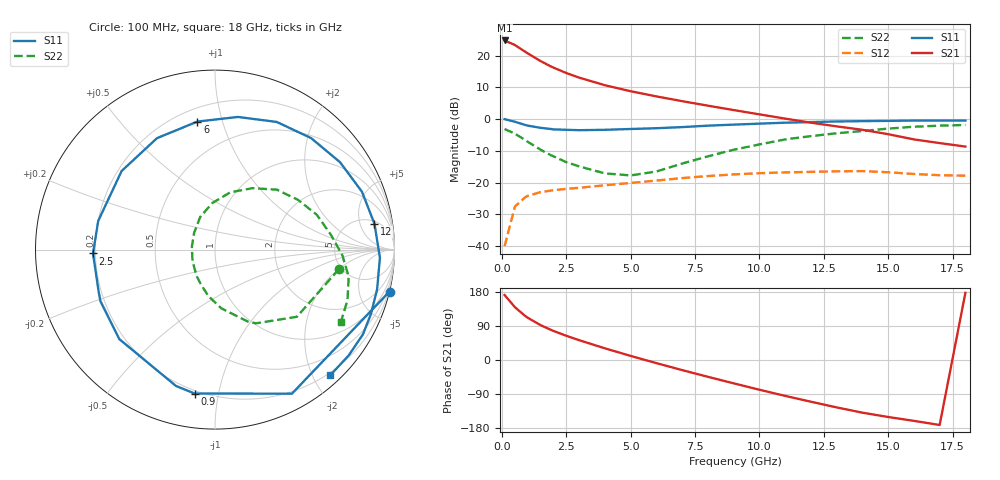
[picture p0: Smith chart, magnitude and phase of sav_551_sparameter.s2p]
# GHZ S MA R 50
! Frequency(GHz) S11(mag,deg) S21(mag,deg) S12(mag,deg) S22(mag,deg)
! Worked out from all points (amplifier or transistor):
!   24 points, 100 MHz to 18 GHz, reference 50 ohm
!   highest |S21| = 24.8 dB at 100 MHz (marker M1)
!   |S21| within 3 dB of that: start of sweep to 795.1 MHz
!   unconditionally stable (mu >= 1): 4.65 GHz to 10.4 GHz
!   at 1.5 GHz: K = 0.43, MSG = 20.6 dB, |S12| = -23.0 dB
!   at 7 GHz: K = 1.11, MAG = 10.1 dB, |S12| = -18.6 dB
!   at 18 GHz: K = 0.81, MSG = 4.6 dB, |S12| = -17.8 dB
!   S11 on the Smith chart (normalised r, x): 100 MHz: 0.00, -8.45; 900 MHz: 0.18, -0.85; 2.5 GHz: 0.19, -0.02; 6 GHz: 0.28, +0.83; 12 GHz: 6, +9; 18 GHz: 0.16, -2.26
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0.1  1 -13.5  17.35 171.5  0.01 81.4  0.7 -8.9
0.5  0.91 -61.9  14.71 139.3  0.042 56.8  0.59 -39.4
0.9  0.81 -98.1  11.52 116.2  0.059 40.4  0.47 -60.9
1  0.79 -106.0  10.86 111.4  0.062 37.2  0.44 -65.6
1.5  0.73 -136.9  8.2 91.9  0.071 25.5  0.33 -83.7
1.9  0.7 -155.7  6.76 79.5  0.075 19.3  0.27 -95.6
2  0.69 -159.8  6.48 76.7  0.076 18.0  0.26 -98.4
2.5  0.68 -178.2  5.32 63.8  0.08 12.7  0.21 -111.6
3  0.67 166.2  4.5 52.2  0.083 8.4  0.18 -124.6
4  0.68 139.9  3.42 30.7  0.091 1.0  0.14 -153.6
5  0.7 117.5  2.75 10.7  0.099 -6.0  0.13 172.8
6  0.72 97.8  2.28 -8.3  0.108 -13.5  0.15 140.6
7  0.75 80.2  1.92 -26.7  0.118 -22.0  0.2 114.2
8  0.79 64.2  1.63 -44.4  0.127 -31.2  0.26 93.3
9  0.82 49.3  1.39 -61.6  0.135 -41.1  0.33 75.1
10  0.85 34.9  1.19 -78.5  0.141 -52.1  0.4 58.8
11  0.88 21.5  1.02 -94.7  0.145 -63.1  0.48 44.1
12  0.9 9.2  0.88 -110.1  0.148 -74.3  0.54 30.8
13  0.92 -2.8  0.77 -125.1  0.151 -85.7  0.6 18.8
14  0.93 -13.8  0.68 -139.0  0.152 -96.6  0.65 7.5
16  0.95 -29.8  0.48 -160.6  0.137 -113.2  0.76 -11.4
18  0.95 -47.5  0.37 177.3  0.129 -130.7  0.81 -30.1
